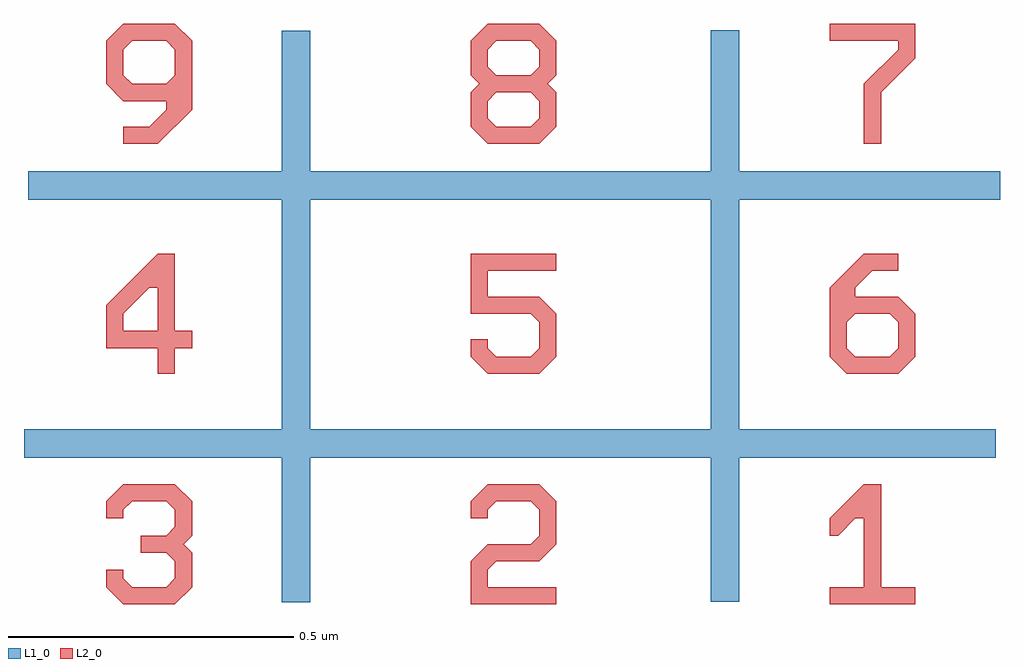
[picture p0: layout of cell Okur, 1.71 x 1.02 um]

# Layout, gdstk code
import gdstk
lib = gdstk.Library(unit=1e-6, precision=1e-09)
def R(c, l, rs):  # rectangles x0, y0, x1, y1
    for r in rs: c.add(gdstk.rectangle(r[:2], r[2:], *l))
def P(c, l, *ps):  # polygons
    for p in ps: c.add(gdstk.Polygon(p, *l))
L1_0 = (1, 0)
L2_0 = (2, 0)

text = lib.new_cell('TEXT')
P(text, L2_0, [(0,0),(0,0.1),(0.2,0.1),(0.2,0.5),(0.15,0.5),(0.05,0.4),(0,0.4),(0,0.5),(0.2,0.7),(0.3,0.7),(0.3,0.1),(0.5,0.1),(0.5,0)])

text_1 = lib.new_cell('TEXT$1')
P(text_1, L2_0, [(0,0),(0,0.25),(0.1,0.35),(0.35,0.35),(0.4,0.4),(0.4,0.55),(0.35,0.6),(0.15,0.6),(0.1,0.55),(0.1,0.5),(0,0.5),(0,0.6),(0.1,0.7),(0.4,0.7),(0.5,0.6),(0.5,0.35),(0.4,0.25),(0.15,0.25),(0.1,0.2),(0.1,0.1),(0.5,0.1),(0.5,0)])

text_2 = lib.new_cell('TEXT$2')
P(text_2, L2_0, [(0.3,0),(0.3,0.15),(0,0.15),(0,0.25),(0.3,0.25),(0.3,0.5),(0.25,0.5),(0.1,0.35),(0.1,0.25),(0,0.25),(0,0.4),(0.3,0.7),(0.4,0.7),(0.4,0.25),(0.5,0.25),(0.5,0.15),(0.4,0.15),(0.4,0)])

text_3 = lib.new_cell('TEXT$3')
P(text_3, L2_0, [(0.1,0),(0,0.1),(0,0.2),(0.1,0.2),(0.1,0.15),(0.15,0.1),(0.35,0.1),(0.4,0.15),(0.4,0.3),(0.35,0.35),(0,0.35),(0,0.7),(0.5,0.7),(0.5,0.6),(0.1,0.6),(0.1,0.45),(0.4,0.45),(0.5,0.35),(0.5,0.1),(0.4,0)])

text_4 = lib.new_cell('TEXT$4')
P(text_4, L2_0, [(0.1,0),(0.1,0.1),(0.25,0.1),(0.35,0.2),(0.35,0.25),(0.1,0.25),(0,0.35),(0.35,0.35),(0.4,0.4),(0.4,0.55),(0.35,0.6),(0.15,0.6),(0.1,0.55),(0.1,0.4),(0.15,0.35),(0,0.35),(0,0.6),(0.1,0.7),(0.4,0.7),(0.5,0.6),(0.5,0.2),(0.3,0)])

text_5 = lib.new_cell('TEXT$5')
P(text_5, L2_0, [(0.1,0),(0,0.1),(0,0.5),(0.2,0.7),(0.4,0.7),(0.4,0.6),(0.25,0.6),(0.15,0.5),(0.15,0.45),(0.4,0.45),(0.5,0.35),(0.15,0.35),(0.1,0.3),(0.1,0.15),(0.15,0.1),(0.35,0.1),(0.4,0.15),(0.4,0.3),(0.35,0.35),(0.5,0.35),(0.5,0.1),(0.4,0)])

text_6 = lib.new_cell('TEXT$6')
P(text_6, L2_0, [(0.2,0),(0.2,0.35),(0.4,0.55),(0.4,0.6),(0,0.6),(0,0.7),(0.5,0.7),(0.5,0.5),(0.3,0.3),(0.3,0)])

text_7 = lib.new_cell('TEXT$7')
P(text_7, L2_0, [(0.1,0),(0,0.1),(0,0.3),(0.05,0.35),(0,0.4),(0,0.6),(0.1,0.7),(0.4,0.7),(0.5,0.6),(0.15,0.6),(0.1,0.55),(0.1,0.45),(0.15,0.4),(0.35,0.4),(0.4,0.45),(0.4,0.55),(0.35,0.6),(0.5,0.6),(0.5,0.4),(0.45,0.35),(0.5,0.3),(0.15,0.3),(0.1,0.25),(0.1,0.15),(0.15,0.1),(0.35,0.1),(0.4,0.15),(0.4,0.25),(0.35,0.3),(0.5,0.3),(0.5,0.1),(0.4,0)])

text_8 = lib.new_cell('TEXT$8')
P(text_8, L2_0, [(0.1,0),(0,0.1),(0,0.2),(0.1,0.2),(0.1,0.15),(0.15,0.1),(0.35,0.1),(0.4,0.15),(0.4,0.25),(0.35,0.3),(0.2,0.3),(0.2,0.4),(0.35,0.4),(0.4,0.45),(0.4,0.55),(0.35,0.6),(0.15,0.6),(0.1,0.55),(0.1,0.5),(0,0.5),(0,0.6),(0.1,0.7),(0.4,0.7),(0.5,0.6),(0.5,0.4),(0.45,0.35),(0.5,0.3),(0.5,0.1),(0.4,0)])

okur = lib.new_cell('Okur')
R(okur, L1_0, [(-65.45,-0.204,-65.4,0.796), (-64.7,-0.203,-64.65,0.797), (-65.901,0.049,-64.201,0.099), (-65.894,0.5,-64.194,0.55)])
okur.add(gdstk.Reference(text, (-64.492,-0.207), magnification=0.3))
okur.add(gdstk.Reference(text_1, (-65.12,-0.207), magnification=0.3))
okur.add(gdstk.Reference(text_2, (-65.757,0.196), magnification=0.3))
okur.add(gdstk.Reference(text_3, (-65.12,0.196), magnification=0.3))
okur.add(gdstk.Reference(text_4, (-65.757,0.598), magnification=0.3))
okur.add(gdstk.Reference(text_5, (-64.492,0.196), magnification=0.3))
okur.add(gdstk.Reference(text_6, (-64.492,0.598), magnification=0.3))
okur.add(gdstk.Reference(text_7, (-65.12,0.598), magnification=0.3))
okur.add(gdstk.Reference(text_8, (-65.757,-0.207), magnification=0.3))

lib.write_gds('Okur.gds')
